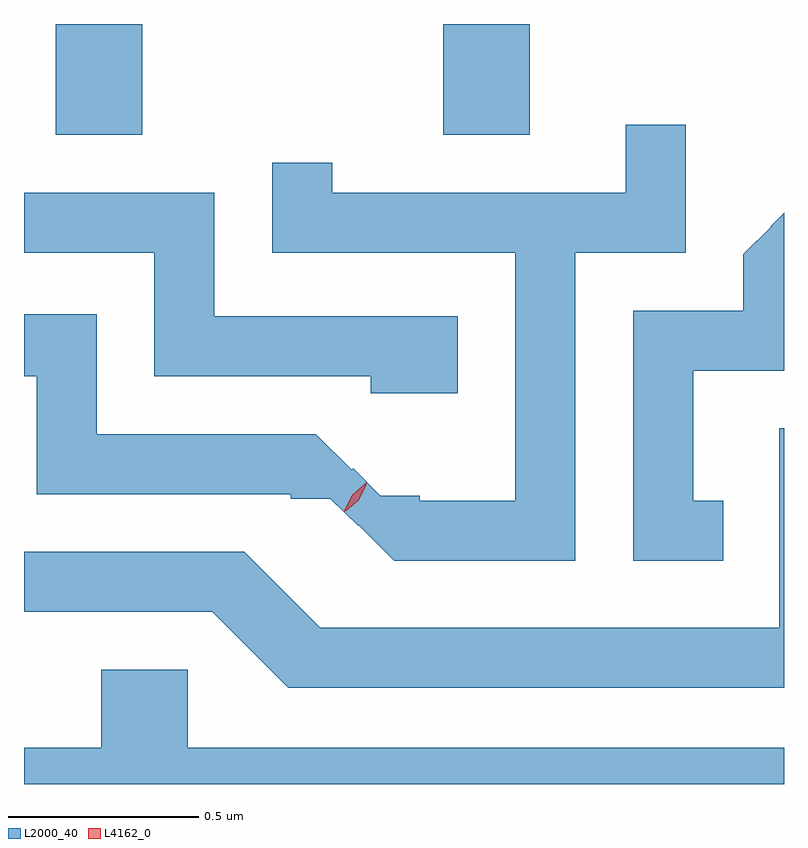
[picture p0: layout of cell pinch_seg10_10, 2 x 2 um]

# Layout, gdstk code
import gdstk
lib = gdstk.Library(unit=1e-6, precision=1e-09)
def R(c, l, rs):  # rectangles x0, y0, x1, y1
    for r in rs: c.add(gdstk.rectangle(r[:2], r[2:], *l))
def P(c, l, *ps):  # polygons
    for p in ps: c.add(gdstk.Polygon(p, *l))
L2000_40 = (2000, 40)
L4162_0 = (4162, 0)

pinch_seg10_10 = lib.new_cell('pinch_seg10_10')
R(pinch_seg10_10, L2000_40, [(832.431,2197.936,832.659,2198.228), (833.451,2197.936,833.679,2198.228)])
P(pinch_seg10_10, L2000_40, [(833.799,2197.626),(834.089,2197.626),(834.089,2197.963),(833.931,2197.963),(833.931,2197.784),(833.159,2197.784),(833.159,2197.863),(833.001,2197.863),(833.001,2197.626),(833.641,2197.626),(833.641,2196.974),(833.39,2196.974),(833.39,2196.986),(833.286,2196.986),(833.214,2197.059),(833.21,2197.055),(833.116,2197.149),(832.539,2197.149),(832.539,2197.464),(832.348,2197.464),(832.348,2197.301),(832.381,2197.301),(832.381,2196.991),(833.05,2196.991),(833.05,2196.979),(833.154,2196.979),(833.227,2196.907),(833.229,2196.909),(833.322,2196.816),(833.799,2196.816)],
  [(833.489,2197.459),(832.849,2197.459),(832.849,2197.784),(832.348,2197.784),(832.348,2197.626),(832.691,2197.626),(832.691,2197.301),(833.261,2197.301),(833.261,2197.256),(833.489,2197.256)],
  [(834.188,2196.974),(834.109,2196.974),(834.109,2197.316),(834.348,2197.316),(834.348,2197.731),(834.313,2197.696),(834.314,2197.695),(834.241,2197.622),(834.241,2197.474),(833.951,2197.474),(833.951,2196.816),(834.188,2196.816)],
  [(834.348,2197.164),(834.336,2197.164),(834.336,2196.639),(833.127,2196.639),(832.927,2196.839),(832.348,2196.839),(832.348,2196.681),(832.844,2196.681),(833.044,2196.481),(834.348,2196.481)],
  [(834.348,2196.324),(832.779,2196.324),(832.779,2196.529),(832.551,2196.529),(832.551,2196.324),(832.348,2196.324),(832.348,2196.228),(834.348,2196.228)])
P(pinch_seg10_10, L4162_0, [(833.19,2196.944),(833.19,2196.945),(833.212,2196.989),(833.249,2197.021),(833.25,2197.021),(833.25,2197.02),(833.228,2196.976),(833.191,2196.944)],
  [(833.195,2196.947),(833.195,2196.948),(833.214,2196.988),(833.248,2197.015),(833.248,2197.015),(833.248,2197.014),(833.229,2196.975),(833.196,2196.947)])

lib.write_gds('pinch_seg10_10.gds')
